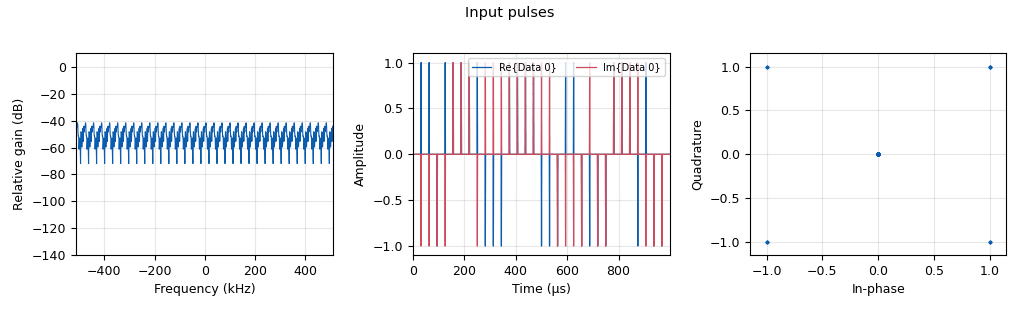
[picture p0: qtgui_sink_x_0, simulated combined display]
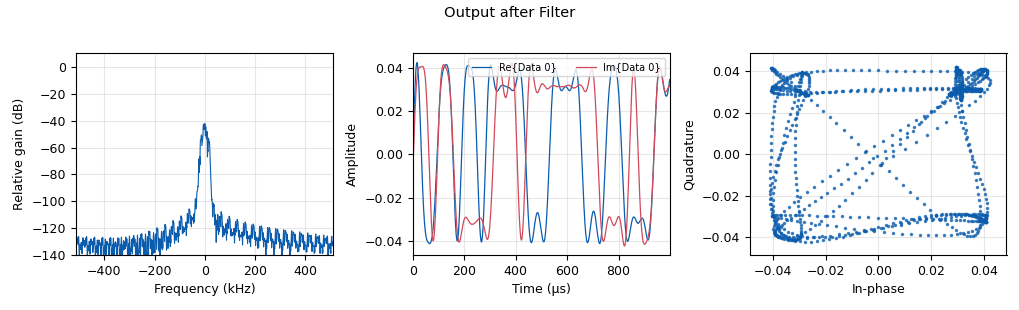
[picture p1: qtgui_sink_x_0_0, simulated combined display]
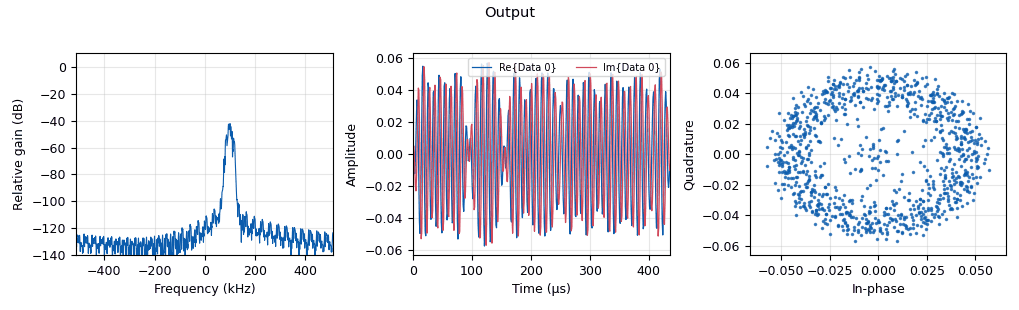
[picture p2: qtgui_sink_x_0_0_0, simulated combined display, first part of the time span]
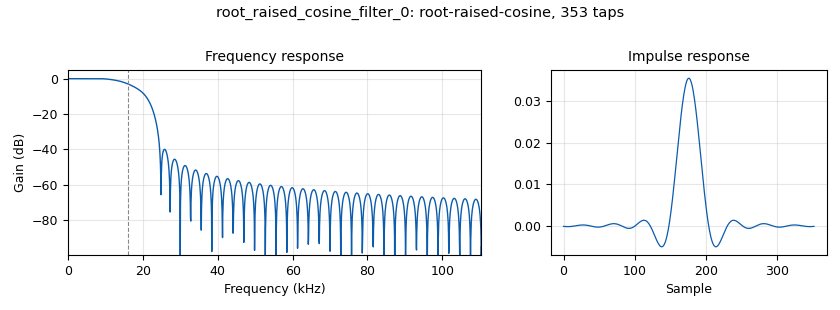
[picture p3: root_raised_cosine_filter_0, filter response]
options:
  parameters:
    author: abhi
    generate_options: qt_gui
    id: Lab7_3
    output_language: python
    title: Not titled yet
  states: {}

blocks:
- name: alpha
  id: variable_qtgui_range
  parameters:
    start: '0.01'
    step: '0.01'
    stop: '1'
    value: '0.5'
  states: {}
- name: const_points
  id: variable
  parameters:
    value: '4'
  states: {}
- name: samp_rate
  id: variable
  parameters:
    value: symb_rate*sps
  states: {}
- name: sps
  id: variable
  parameters:
    value: '32'
  states: {}
- name: symb_rate
  id: variable
  parameters:
    value: '32000'
  states: {}
- name: analog_random_source_x_0
  id: analog_random_source_x
  parameters:
    max: const_points
    min: '0'
    num_samps: '1000'
    repeat: 'True'
    type: byte
  states: {}
- name: analog_sig_source_x_0
  id: analog_sig_source_x
  parameters:
    amp: '1'
    freq: '100000'
    offset: '0'
    phase: '0'
    samp_rate: samp_rate
    type: complex
    waveform: analog.GR_COS_WAVE
  states: {}
- name: blocks_multiply_xx_0
  id: blocks_multiply_xx
  parameters:
    type: complex
  states: {}
- name: digital_chunks_to_symbols_xx_0
  id: digital_chunks_to_symbols_xx
  parameters:
    dimension: '1'
    in_type: byte
    out_type: complex
    symbol_table: ((1-1j), (1+1j), (-1+1j), (-1-1j))
  states: {}
- name: interp_fir_filter_xxx_0
  id: interp_fir_filter_xxx
  parameters:
    interp: sps
    taps: '1'
    type: ccf
  states: {}
- name: qtgui_sink_x_0
  id: qtgui_sink_x
  parameters:
    bw: samp_rate
    fc: '0'
    fftsize: '1024'
    name: '"Input pulses"'
    type: complex
  states: {}
- name: qtgui_sink_x_0_0
  id: qtgui_sink_x
  parameters:
    bw: samp_rate
    fc: '0'
    fftsize: '1024'
    name: '"Output after Filter"'
    type: complex
  states: {}
- name: qtgui_sink_x_0_0_0
  id: qtgui_sink_x
  parameters:
    bw: samp_rate
    fc: '0'
    fftsize: '1024'
    name: '"Output"'
    type: complex
  states: {}
- name: rational_resampler_xxx_0
  id: rational_resampler_xxx
  parameters:
    decim: '1'
    interp: '1'
    taps: '[firdes.root]'
    type: ccc
  states: {state: disabled}
- name: root_raised_cosine_filter_0
  id: root_raised_cosine_filter
  parameters:
    alpha: alpha
    gain: '1'
    interp: '1'
    ntaps: 11*sps
    samp_rate: symb_rate*sps
    sym_rate: symb_rate
    type: interp_fir_filter_ccf
  states: {}

connections:
- [analog_random_source_x_0, '0', digital_chunks_to_symbols_xx_0, '0']
- [analog_sig_source_x_0, '0', blocks_multiply_xx_0, '1']
- [blocks_multiply_xx_0, '0', qtgui_sink_x_0_0_0, '0']
- [digital_chunks_to_symbols_xx_0, '0', interp_fir_filter_xxx_0, '0']
- [interp_fir_filter_xxx_0, '0', qtgui_sink_x_0, '0']
- [interp_fir_filter_xxx_0, '0', root_raised_cosine_filter_0, '0']
- [root_raised_cosine_filter_0, '0', blocks_multiply_xx_0, '0']
- [root_raised_cosine_filter_0, '0', qtgui_sink_x_0_0, '0']

metadata:
  file_format: 1
  grc_version: 3.9.8.0-rc1
